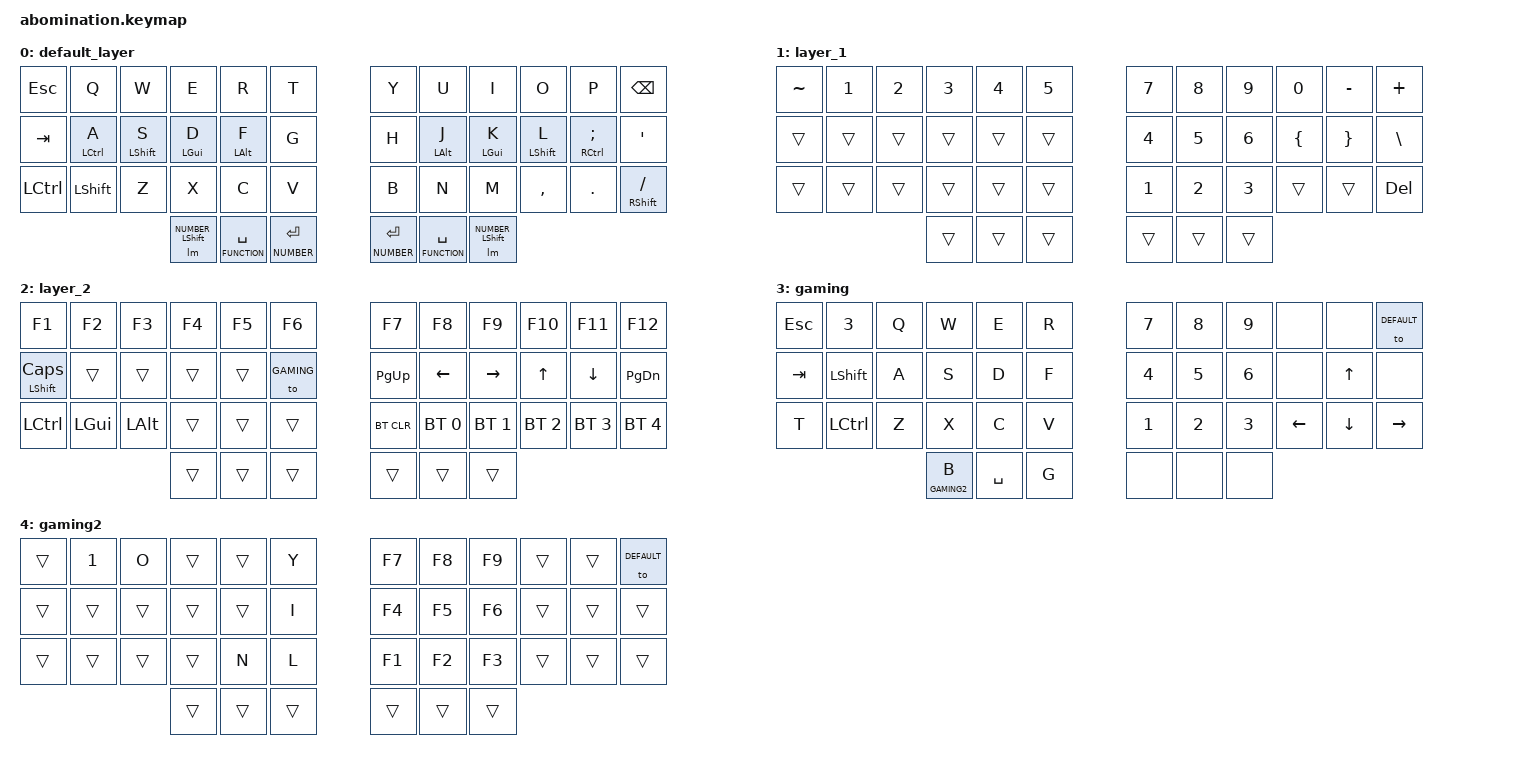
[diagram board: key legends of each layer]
/*
 * Copyright (c) 2020 The ZMK Contributors
 *
 * SPDX-License-Identifier: MIT
 */

#include <behaviors.dtsi>
#include <dt-bindings/zmk/keys.h>
#include <dt-bindings/zmk/bt.h>
#include <dt-bindings/zmk/outputs.h>

/ {
        macros {
                /**
                * Temporarily switches to a layer (`&mo`) while a modifier is held.
                * Analogous to QMK's `LM()`, using a parameterized macro.
                *
                * Params:
                *  1. Layer to switch to
                *  2. Modifier to press while layer is active
                *
                * Example:
                *  `&lm NUM_LAYER LSHIFT`
                */
                lm: lm {
                label = "LAYER_MOD";
                compatible = "zmk,behavior-macro-two-param";
                wait-ms = <0>;
                tap-ms = <0>;
                #binding-cells = <2>;
                bindings
                = <&macro_param_1to1>
                , <&macro_press &mo MACRO_PLACEHOLDER>
                , <&macro_param_2to1>
                , <&macro_press &kp MACRO_PLACEHOLDER>
                , <&macro_pause_for_release>
                , <&macro_param_2to1>
                , <&macro_release &kp MACRO_PLACEHOLDER>
                , <&macro_param_1to1>
                , <&macro_release &mo MACRO_PLACEHOLDER>
                ;
                };
        };
};

#define DEFAULT 0
#define NUMBER   1
#define FUNCTION 2
#define GAMING  3
#define GAMING2  4


/ {
        keymap {
                compatible = "zmk,keymap";

                default_layer {
// -----------------------------------------------------------------------------------------
// |  TAB |  Q  |  W  |  E  |  R  |  T  |   |  Y  |  U   |  I  |  O  |  P  | BKSP |
// | CTRL |  A  |  S  |  D  |  F  |  G  |   |  H  |  J   |  K  |  L  |  ;  |  '   |
// | SHFT |  Z  |  X  |  C  |  V  |  B  |   |  N  |  M   |  ,  |  .  |  /  | ESC  |
//                    | GUI | LWR | SPC |   | ENT | RSE  | ALT |
                        bindings = <
   &kp ESC &kp Q       &kp W       &kp E      &kp R      &kp T       &kp Y &kp U      &kp I      &kp O      &kp P          &kp BSPC
   &kp TAB &mt LCTRL A &mt LSHFT S &mt LGUI D &mt LALT F &kp G       &kp H &mt LALT J &mt LGUI K &mt LSHFT L &mt RCTRL SEMI &kp SQT
   &kp LCTRL &kp LSHFT &kp Z       &kp X      &kp C      &kp V       &kp B &kp N      &kp M      &kp COMMA   &kp DOT        &mt RSHFT FSLH
   &lm NUMBER LSHFT &lt FUNCTION SPACE  &lt NUMBER ENTER            &lt NUMBER ENTER &lt FUNCTION SPACE &lm NUMBER LSHFT
                        >;
                };
                layer_1 {
// -----------------------------------------------------------------------------------------
// |  TAB |  1  |  2  |  3  |  4  |  5  |   |  6  |  7  |  8  |  9  |  0  | BKSP |
// | BTCLR| BT1 | BT2 | BT3 | BT4 | BT5 |   | LFT | DWN |  UP | RGT |     |      |
// | SHFT |     |     |     |     |     |   |     |     |     |     |     |      |
//                    | GUI |     | SPC |   | ENT |     | ALT |
                        bindings = <
   &kp TILDE &kp N1       &kp N2    &kp N3     &kp N4    &kp N5      &kp N7 &kp N8   &kp N9     &kp N0      &kp MINUS     &kp PLUS
   &trans    &trans    &trans    &trans    &trans    &trans         &kp N4 &kp N5   &kp N6     &kp LBRC    &kp RBRC      &kp BSLH
   &trans   &trans     &trans     &trans    &trans    &trans         &kp N1 &kp N2   &kp N3     &trans      &trans        &kp DEL
                            &trans     &trans       &trans      &trans  &trans   &trans
                        >;
                };

                layer_2 {
// -----------------------------------------------------------------------------------------
// |  TAB |  !  |  @  |  #  |  $  |  %  |   |  ^  |  &  |  *  |  (  |  )  | BKSP |
// | CTRL |     |     |     |     |     |   |  -  |  =  |  [  |  ]  |  \  |  `   |
// | SHFT |     |     |     |     |     |   |  _  |  +  |  {  |  }  | "|" |  ~   |
//                    | GUI |     | SPC |   | ENT |     | ALT |
                        bindings = <
   &kp  F1  &kp F2 &kp F3 &kp F4 &kp F5 &kp F6                     &kp F7 &kp F8  &kp F9 &kp F10 &kp F11 &kp F12
   &mt LSHFT CAPS &trans   &trans &trans   &trans   &to GAMING     &kp PG_UP &kp LEFT &kp RIGHT &kp UP &kp DOWN &kp PG_DN
   &kp LCTRL &kp LGUI &kp LALT &trans   &trans   &trans            &bt BT_CLR &bt BT_SEL 0 &bt BT_SEL 1 &bt BT_SEL 2 &bt BT_SEL 3 &bt BT_SEL 4 
                             &trans &trans   &trans                &trans   &trans    &trans
                        >;
                };

                gaming {
// -----------------------------------------------------------------------------------------
// |  TAB |  Q  |  W  |  E  |  R  |  T  |   |  Y  |  U   |  I  |  O  |  P  | BKSP |
// | CTRL |  A  |  S  |  D  |  F  |  G  |   |  H  |  J   |  K  |  L  |  ;  |  '   |
// | SHFT |  Z  |  X  |  C  |  V  |  B  |   |  N  |  M   |  ,  |  .  |  /  | ESC  |
//                    | GUI | LWR | SPC |   | ENT | RSE  | ALT |
                        bindings = <
   &kp ESC &kp N3 &kp Q    &kp W    &kp E   &kp R      &kp N7 &kp N8   &kp N9 &none  &none &to DEFAULT
   &kp TAB &kp LSHFT  &kp A  &kp S  &kp D  &kp F       &kp N4 &kp N5   &kp N6 &none &kp UP &none 
   &kp T  &kp LCTRL  &kp Z   &kp X  &kp C  &kp V       &kp N1 &kp N2   &kp N3 &kp LEFT &kp DOWN &kp RIGHT
                  &lt GAMING2 B &kp SPACE  &kp G       &none  &none &none
                        >;
                };
                
                gaming2 {
// -----------------------------------------------------------------------------------------
// |  TAB |  Q  |  W  |  E  |  R  |  T  |   |  Y  |  U   |  I  |  O  |  P  | BKSP |
// | CTRL |  A  |  S  |  D  |  F  |  G  |   |  H  |  J   |  K  |  L  |  ;  |  '   |
// | SHFT |  Z  |  X  |  C  |  V  |  B  |   |  N  |  M   |  ,  |  .  |  /  | ESC  |
//                    | GUI | LWR | SPC |   | ENT | RSE  | ALT |
                        bindings = <
   &trans &kp N1 &kp O  &trans &trans &kp Y      &kp F7 &kp F8 &kp F9 &trans &trans &to DEFAULT
   &trans &trans &trans  &trans &trans &kp I      &kp F4 &kp F5 &kp F6 &trans &trans &trans 
   &trans &trans &trans  &trans &kp N &kp L     &kp F1 &kp F2 &kp F3 &trans &trans &trans
                   &trans &trans &trans                 &trans &trans &trans
                        >;
                };
        };
};

/**
#define COMBO_TIMEOUT 60


/ {
    combos {
        compatible = "zmk,combos";
 	 combo_del {
            timeout-ms = <COMBO_TIMEOUT>;
            key-positions = <11 12 13>;
            bindings = <&mt RALT DEL>;
        };
	 combo_cw {
            timeout-ms = <COMBO_TIMEOUT>;
            key-positions = <2 3 4>;
            bindings = <&caps_word>;
        };
	 combo_tab {
            timeout-ms = <COMBO_TIMEOUT>;
            key-positions = <10 11 12>;
            bindings = <&mt K_CONTEXT_MENU TAB>;
        };
	 combo_row {
            timeout-ms = <COMBO_TIMEOUT>;
            key-positions = <12 13 14>;
            bindings = <&kp LS(HOME)>;
        };
	 combo_esc {
            timeout-ms = <COMBO_TIMEOUT>;
            key-positions = <0 1 2>;
            bindings = <&kp ESC>;
	 };
	 combo_ctlbksp {
            timeout-ms = <COMBO_TIMEOUT>;
            key-positions = <6 7 8>;
            bindings = <&kp LC(BSPC)>;
        };
	 combo_bksp {
            timeout-ms = <COMBO_TIMEOUT>;
            key-positions = <16 17 18>;
            bindings = <&kp BSPC>;
        };
    };
};

&caps_word {
	continue-list = <UNDERSCORE MINUS BACKSPACE DELETE HOME END LEFT RIGHT>;
};

&kscan0 {
	debounce-period = <20>;
	};

/ {
	behaviors {

        bh: layer_taps 
		{
			compatible = "zmk,behavior-hold-tap";
			label = "Layer-Tap";
			#binding-cells = <2>;
			tapping_term_ms = <215>;
            flavor = "tap-preferred";
			bindings = <&mo>, <&kp>;
        };

        hm: homerow_mods {
            compatible = "zmk,behavior-hold-tap";
            label = "HOMEROW_MODS";
            #binding-cells = <2>;
            tapping-term-ms = <170>;
            quick_tap_ms = <0>;
            flavor = "tap-preferred";
            bindings = <&kp>, <&kp>;
        };
		sm: shift_mods {
            compatible = "zmk,behavior-hold-tap";
            label = "SHIFT_MODS";
            #binding-cells = <2>;
            tapping-term-ms = <170>;
            quick_tap_ms = <0>;
            flavor = "hold-preferred";
            bindings = <&kp>, <&kp>;
        };
     };
   };

/ {
        keymap {
                compatible = "zmk,keymap";

                default_layer {
// -----------------------------------------------------------------------------------------
// |  Q  |  W  |  E  |  R  |  T  |   |  Y  |  U   |  I  |  O  |  P  | 
// |  A  |  S  |  D  |  F  |  G  |   |  H  |  J   |  K  |  L  |  ;  |
// |  Z  |  X  |  C  |  V  |  B  |   |  N  |  M   |  ,  |  .  |  /  | 
//             | GUI | LWR | ENT |   | SPC | RSE  | ALT |
                        bindings = <
   &kp Q &kp W &kp E &kp R &kp T   &kp Y &kp U  &kp I     &kp O   &kp P
   &bh 3 A &kp S &kp D &kp F &kp G   &kp H &kp J  &kp K &kp L   &kp SQT
   &mt LSHFT Z &kp X &kp C &kp V &kp B   &kp N &kp M  &kp COMMA &kp DOT &mt RSHFT FSLH
        &kp LGUI &bh 1 HOME &mt LCTRL RET   &kp SPACE &bh 2 END &mt RALT LG(V)
                        >;
		label = "BASE";
                };
                lower_layer {

                        bindings = <
   &bt BT_SEL 0 &bt BT_SEL 1 &bt BT_SEL 2 &bt BT_SEL 3 &bt BT_CLR     &kp PG_UP &kp N7 &kp N8 &kp N9 &kp BSPC
   &kp F2       &hm LCTRL F3  &hm LSHFT F4  &hm LALT F5  &hm LGUI F6         &kp PG_DN &kp N4 &kp N5 &kp N6 &kp BSLH
   &kp F7       &kp F8       &kp F10      &kp F11      &kp F12        &kp INS &kp N1 &kp N2 &kp N3  &kp LC(RET)
               	        &kp LC(LA(LSHFT)) &trans       &mt RALT RET      &mt LCTRL F1  &kp N0  &mt LSHFT DOT
                        >;
		label = "Numbers";
                };

                raise_layer {

                        bindings = <
   &kp EXCL &kp AT &kp HASH &kp DLLR &kp PRCNT             &kp CARET &kp AMPS  &kp KP_MULTIPLY &kp LPAR &kp RPAR 
   &kp TAB   &kp CAPS &kp F13   &out OUT_TOG &kp LGUI      &kp MINUS &kp EQUAL &kp LBRC &kp RBRC &kp PIPE 
   &kp ESC   &kp GRAVE &kp QMARK   &kp F9   &kp F17             &kp UNDER &kp PLUS  &kp LBKT &kp RBKT &kp BSLH 
        	     &kp LCTRL &kp LALT   &mt LSHFT LS(INS)   &kp RET   &trans    &mt RALT TILDE
                        >;
		label = "Symbols";
		};
		
		danger_layer {

                        bindings = <
   &bootloader  &kp AT &kp HASH &kp PAUSE_BREAK &kp SLCK              &kp C_VOL_UP &hm LC(V) LC(C)  &hello &kp LC(LA(DEL)) &bootloader 
   &trans   &trans &kp LC(LSHFT)  &mt LSHFT UP   &mt LCTRL PSCRN   &kp C_VOL_DN &trans &trans        &kp UP &kp SEMI 
   &kp LNLCK   &trans &kp LEFT &kp DOWN &kp RIGHT              &kp C_MUTE &trans  &kp LEFT        &kp DOWN &kp RIGHT 
        	     &kp LG(Z) &kp LG(X)   &kp LG(C)   &kp LC(LA(W))   &kp LC(LA(P))    &kp LC(LA(R))
                        >;
                label = "**DANGER**";
		};
        };
};
**/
